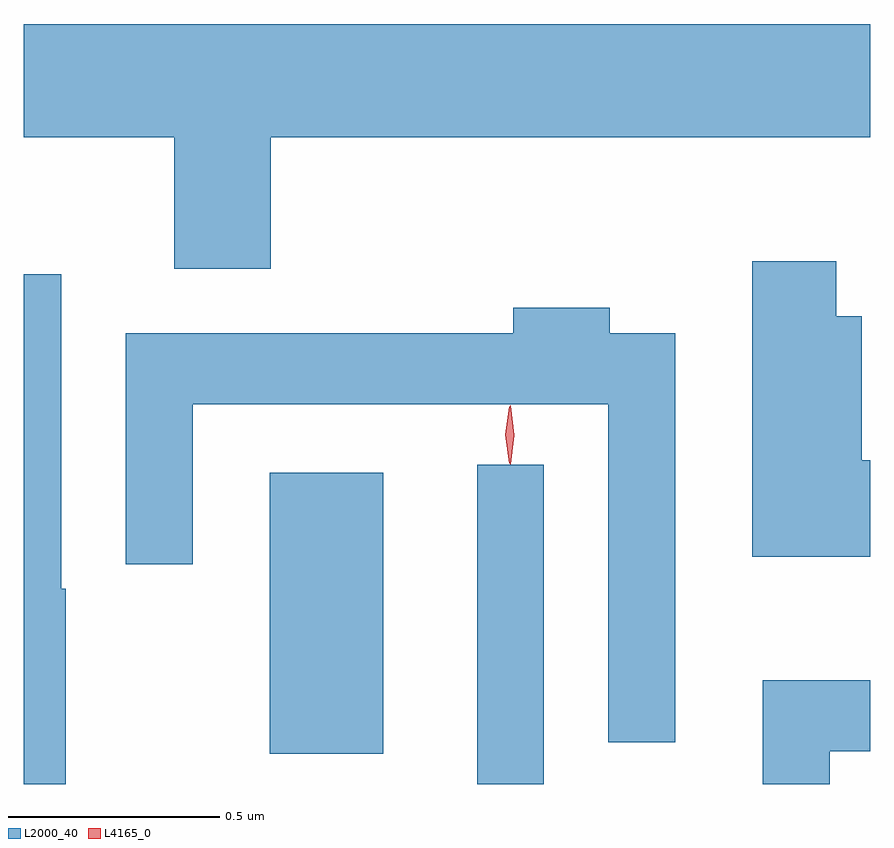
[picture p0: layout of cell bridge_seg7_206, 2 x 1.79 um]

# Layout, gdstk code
import gdstk
lib = gdstk.Library(unit=1e-6, precision=1e-09)
def R(c, l, rs):  # rectangles x0, y0, x1, y1
    for r in rs: c.add(gdstk.rectangle(r[:2], r[2:], *l))
def P(c, l, *ps):  # polygons
    for p in ps: c.add(gdstk.Polygon(p, *l))
L2000_40 = (2000, 40)
L4165_0 = (4165, 0)

bridge_seg7_206 = lib.new_cell('bridge_seg7_206')
R(bridge_seg7_206, L2000_40, [(1496.326,1715.009,1496.484,1715.763), (1495.836,1715.081,1496.104,1715.744)])
P(bridge_seg7_206, L2000_40, [(1495.839,1716.536),(1497.255,1716.536),(1497.255,1716.804),(1495.255,1716.804),(1495.255,1716.536),(1495.611,1716.536),(1495.611,1716.226),(1495.839,1716.226)],
  [(1497.255,1715.774),(1497.234,1715.774),(1497.234,1716.114),(1497.174,1716.114),(1497.174,1716.244),(1496.976,1716.244),(1496.976,1715.546),(1497.255,1715.546)],
  [(1495.354,1715.47),(1495.344,1715.47),(1495.344,1716.213),(1495.255,1716.213),(1495.255,1715.009),(1495.354,1715.009)],
  [(1496.794,1716.074),(1496.639,1716.074),(1496.639,1716.134),(1496.411,1716.134),(1496.411,1716.074),(1495.496,1716.074),(1495.496,1715.528),(1495.654,1715.528),(1495.654,1715.906),(1496.636,1715.906),(1496.636,1715.108),(1496.794,1715.108)],
  [(1497.159,1715.086),(1497.255,1715.086),(1497.255,1715.254),(1497.001,1715.254),(1497.001,1715.009),(1497.159,1715.009)])
P(bridge_seg7_206, L4165_0, [(1496.402,1715.767),(1496.393,1715.834),(1496.402,1715.9),(1496.403,1715.9),(1496.404,1715.9),(1496.413,1715.834),(1496.404,1715.767),(1496.403,1715.767)],
  [(1496.404,1715.764),(1496.404,1715.764),(1496.394,1715.833),(1496.404,1715.902),(1496.404,1715.903),(1496.405,1715.902),(1496.414,1715.833),(1496.405,1715.764)])

lib.write_gds('bridge_seg7_206.gds')
